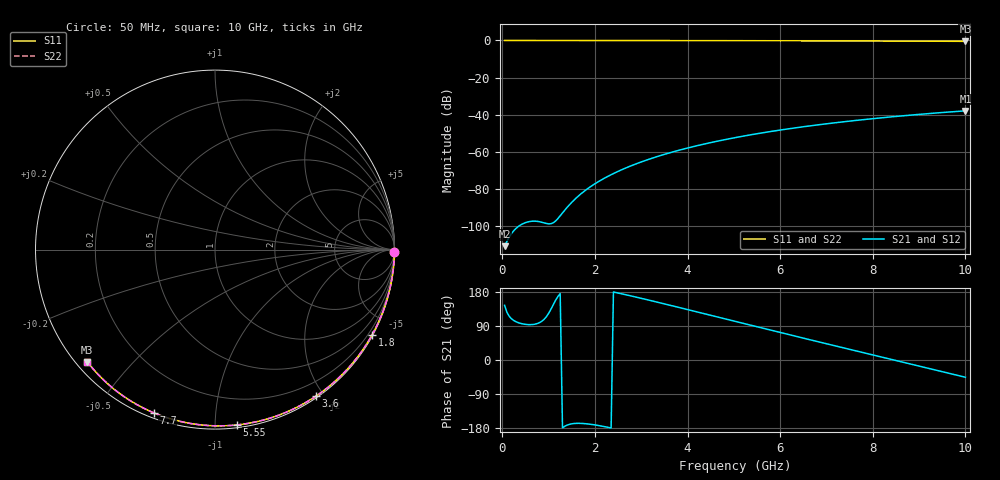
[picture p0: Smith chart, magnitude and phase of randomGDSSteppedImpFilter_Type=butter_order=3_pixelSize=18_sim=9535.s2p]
! freq	dB(S11)	phase(S11)	dB(S12)	phase(S12)
!  dB(S21)	phase(S21)	dB(S22)	phase(S22)
!S-par simulation data
#  GHz  S  DB  R 50
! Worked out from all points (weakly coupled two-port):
!   200 points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, 50 MHz to 10 GHz, reference 50 ohm
!   highest |S21| = -37.91 dB at 10 GHz (marker M1); lowest = -110.8 dB at 50 MHz (marker M2)
!   lowest |S11| = -0.5 dB at 10 GHz (marker M3), VSWR 36.75, Z = 1.55 - j18.8 ohm
!   |S11| at or under -10 dB: nowhere
!   |S22| runs from -0.5 to 0.0 dB; largest |S21 - S12| = 0
!   S11 on the Smith chart (normalised r, x): 50 MHz: open; 1.8 GHz: 0.03, -3.95; 3.6 GHz: 0.02, -1.90; 5.55 GHz: 0.02, -1.13; 7.7 GHz: 0.02, -0.69; 10 GHz: 0.03, -0.38
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0.05  -0.00 -0.8  -110.80 144.2  -110.80 144.2  -0.00 -0.8
0.45  -0.01 -7.2  -98.65 95.0  -98.65 95.0  -0.01 -7.2
0.9  -0.02 -14.4  -98.23 107.0  -98.23 107.0  -0.02 -14.4
1.75  -0.04 -27.7  -81.58 -167.6  -81.58 -167.6  -0.04 -27.7
1.8  -0.04 -28.4  -80.62 -168.1  -80.62 -168.1  -0.04 -28.4
1.85  -0.04 -29.2  -79.71 -168.8  -79.71 -168.8  -0.04 -29.2
2.05  -0.04 -32.3  -76.42 -172.3  -76.42 -172.3  -0.04 -32.3
2.25  -0.05 -35.4  -73.58 -176.8  -73.58 -176.8  -0.05 -35.4
2.55  -0.05 -39.9  -69.94 175.4  -69.94 175.4  -0.05 -39.9
2.95  -0.06 -46.0  -65.89 164.2  -65.89 164.2  -0.06 -46.0
3.4  -0.07 -52.6  -62.10 151.1  -62.10 151.1  -0.07 -52.6
3.6  -0.07 -55.6  -60.62 145.1  -60.62 145.1  -0.07 -55.6
3.9  -0.08 -59.9  -58.57 136.1  -58.57 136.1  -0.08 -59.9
4.3  -0.09 -65.6  -56.13 124.1  -56.13 124.1  -0.09 -65.6
5.05  -0.12 -76.1  -52.23 101.4  -52.23 101.4  -0.12 -76.1
5.55  -0.14 -82.9  -50.03 86.3  -50.03 86.3  -0.14 -82.9
6.1  -0.16 -90.2  -47.88 69.7  -47.88 69.7  -0.16 -90.2
6.7  -0.19 -98.0  -45.82 51.8  -45.82 51.8  -0.19 -98.0
7.7  -0.25 -110.6  -42.90 22.2  -42.90 22.2  -0.25 -110.6
8.35  -0.30 -118.7  -41.27 3.2  -41.27 3.2  -0.30 -118.7
9.2  -0.38 -129.0  -39.40 -21.8  -39.40 -21.8  -0.38 -129.0
10  -0.47 -138.7  -37.91 -45.6  -37.91 -45.6  -0.47 -138.7
